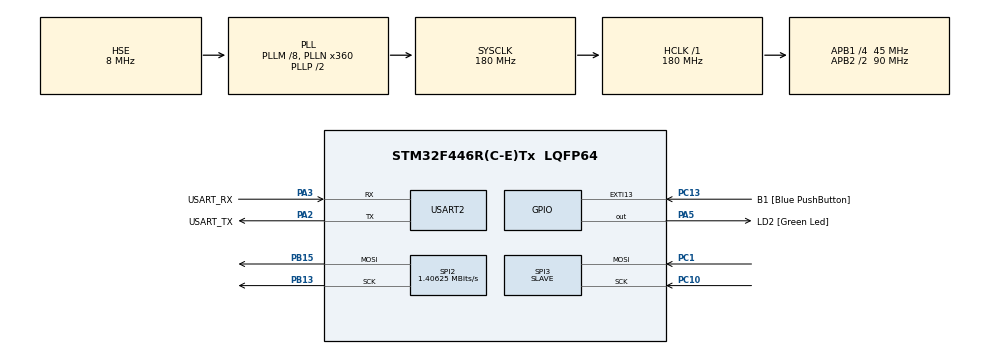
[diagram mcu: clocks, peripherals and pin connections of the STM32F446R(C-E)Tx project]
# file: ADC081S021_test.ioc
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Mcu.Family=STM32F4
Mcu.Name=STM32F446R(C-E)Tx
Mcu.Package=LQFP64
NVIC.PriorityGroup=NVIC_PRIORITYGROUP_0
PA13.GPIO_Label=TMS
PA13.Mode=Serial_Wire
PA13.Signal=SYS_JTMS-SWDIO
PA14.GPIO_Label=TCK
PA14.Mode=Serial_Wire
PA14.Signal=SYS_JTCK-SWCLK
PA2.GPIO_Label=USART_TX
PA2.Mode=Asynchronous
PA2.Signal=USART2_TX
PA3.GPIO_Label=USART_RX
PA3.Mode=Asynchronous
PA3.Signal=USART2_RX
PA5.GPIO_Label=LD2 [Green Led]
PA5.Signal=GPIO_Output
PB13.Mode=TX_Only_Simplex_Unidirect_Master
PB13.Signal=SPI2_SCK
PB15.Mode=TX_Only_Simplex_Unidirect_Master
PB15.Signal=SPI2_MOSI
PB3.GPIO_Label=SWO
PB3.Signal=SYS_JTDO-SWO
PC1.Mode=RX_Only_Simplex_Unidirect_Slave
PC1.Signal=SPI3_MOSI
PC10.Mode=RX_Only_Simplex_Unidirect_Slave
PC10.Signal=SPI3_SCK
PC13.GPIO_Label=B1 [Blue PushButton]
PC13.GPIO_ModeDefaultEXTI=GPIO_MODE_IT_FALLING
PC13.Signal=GPXTI13
PC14-OSC32_IN.Mode=LSE-External-Oscillator
PC14-OSC32_IN.Signal=RCC_OSC32_IN
PC15-OSC32_OUT.Mode=LSE-External-Oscillator
PC15-OSC32_OUT.Signal=RCC_OSC32_OUT
PH0-OSC_IN.Mode=HSE-External-Oscillator
PH0-OSC_IN.Signal=RCC_OSC_IN
PH1-OSC_OUT.Mode=HSE-External-Oscillator
PH1-OSC_OUT.Signal=RCC_OSC_OUT
ProjectManager.HeapSize=0x200
ProjectManager.StackSize=0x400
ProjectManager.TargetToolchain=STM32CubeIDE
RCC.48MHZClocksFreq_Value=84000000
RCC.AHBFreq_Value=180000000
RCC.APB1CLKDivider=RCC_HCLK_DIV4
RCC.APB1Freq_Value=45000000
RCC.APB1TimFreq_Value=90000000
RCC.APB2CLKDivider=RCC_HCLK_DIV2
RCC.APB2Freq_Value=90000000
RCC.APB2TimFreq_Value=180000000
RCC.CortexFreq_Value=180000000
RCC.FLatency-AdvancedSettings=FLASH_LATENCY_5
RCC.HCLKFreq_Value=180000000
RCC.HSE_VALUE=8000000
RCC.HSI_VALUE=16000000
RCC.PLLM=8
RCC.PLLN=360
RCC.PLLSourceVirtual=RCC_PLLSOURCE_HSE
RCC.SYSCLKFreq_VALUE=180000000
RCC.SYSCLKSource=RCC_SYSCLKSOURCE_PLLCLK
RCC.USBFreq_Value=180000000
RCC.VCOOutputFreq_Value=360000000
SPI2.BaudRatePrescaler=SPI_BAUDRATEPRESCALER_32
SPI2.CLKPhase=SPI_PHASE_1EDGE
SPI2.CLKPolarity=SPI_POLARITY_HIGH
SPI2.CalculateBaudRate=1.40625 MBits/s
SPI2.DataSize=SPI_DATASIZE_16BIT
SPI2.Direction=SPI_DIRECTION_2LINES
SPI2.Mode=SPI_MODE_MASTER
SPI2.VirtualType=VM_MASTER
SPI3.CLKPhase=SPI_PHASE_2EDGE
SPI3.CLKPolarity=SPI_POLARITY_HIGH
SPI3.DataSize=SPI_DATASIZE_16BIT
SPI3.Direction=SPI_DIRECTION_2LINES_RXONLY
SPI3.Mode=SPI_MODE_SLAVE
SPI3.VirtualType=VM_SLAVE
USART2.VirtualMode=VM_ASYNC
board=NUCLEO-F446RE

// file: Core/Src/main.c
/* USER CODE BEGIN Header */
/**
  ******************************************************************************
  * @file           : main.c
  * @brief          : Main program body
  ******************************************************************************
  * @attention
  *
  * Copyright (c) 2025 STMicroelectronics.
  * All rights reserved.
  *
  * This software is licensed under terms that can be found in the LICENSE file
  * in the root directory of this software component.
  * If no LICENSE file comes with this software, it is provided AS-IS.
  *
  ******************************************************************************
  */
/* USER CODE END Header */
#include "main.h"

/* USER CODE BEGIN Includes */
#include <math.h>
#include <stdio.h>
#include <stdlib.h>
#include <string.h>
/* USER CODE END Includes */

SPI_HandleTypeDef hspi2;
SPI_HandleTypeDef hspi3;

UART_HandleTypeDef huart2;

void SystemClock_Config(void);
static void MX_GPIO_Init(void);
static void MX_USART2_UART_Init(void);
static void MX_SPI2_Init(void);
static void MX_SPI3_Init(void);
/* USER CODE BEGIN PFP */
#define PUTCHAR_PROTOTYPE int __io_putchar(int ch)
/* USER CODE END PFP */

/* USER CODE BEGIN 0 */
PUTCHAR_PROTOTYPE
{
  /* Place your implementation of fputc here */
  /* e.g. write a character to the USART2 and Loop until the end of transmission */
  HAL_UART_Transmit(&huart2, (uint8_t *)&ch, 1, 0xFFFF);
  return ch;
}
/* USER CODE END 0 */

int main(void)
{

  /* MCU Configuration--------------------------------------------------------*/

  /* Reset of all peripherals, Initializes the Flash interface and the Systick. */
  HAL_Init();

  /* Configure the system clock */
  SystemClock_Config();

  /* Initialize all configured peripherals */
  MX_GPIO_Init();
  MX_USART2_UART_Init();
  MX_SPI2_Init();
  MX_SPI3_Init();

  /* Infinite loop */
  /* USER CODE BEGIN WHILE */
  uint16_t read_data;
  uint16_t write_data = 0x8000; // Acting like Chip select
  while (1)
  {
    /* USER CODE END WHILE */

    /* USER CODE BEGIN 3 */
	HAL_GPIO_TogglePin(GPIOA, GPIO_PIN_5);

	HAL_SPI_Transmit(&hspi2, &write_data,  1, 1);
	HAL_SPI_Receive(&hspi3, &read_data, 1, 1);
	printf("ADC Value = %d \r\n", read_data);
	HAL_Delay(1000);

  }
  /* USER CODE END 3 */
}

void SystemClock_Config(void)
{
  RCC_OscInitTypeDef RCC_OscInitStruct = {0};
  RCC_ClkInitTypeDef RCC_ClkInitStruct = {0};

  /** Configure the main internal regulator output voltage
  */
  __HAL_RCC_PWR_CLK_ENABLE();
  __HAL_PWR_VOLTAGESCALING_CONFIG(PWR_REGULATOR_VOLTAGE_SCALE1);

  /** Initializes the RCC Oscillators according to the specified parameters
  * in the RCC_OscInitTypeDef structure.
  */
  RCC_OscInitStruct.OscillatorType = RCC_OSCILLATORTYPE_HSE;
  RCC_OscInitStruct.HSEState = RCC_HSE_ON;
  RCC_OscInitStruct.PLL.PLLState = RCC_PLL_ON;
  RCC_OscInitStruct.PLL.PLLSource = RCC_PLLSOURCE_HSE;
  RCC_OscInitStruct.PLL.PLLM = 8;
  RCC_OscInitStruct.PLL.PLLN = 360;
  RCC_OscInitStruct.PLL.PLLP = RCC_PLLP_DIV2;
  RCC_OscInitStruct.PLL.PLLQ = 2;
  RCC_OscInitStruct.PLL.PLLR = 2;
  if (HAL_RCC_OscConfig(&RCC_OscInitStruct) != HAL_OK)
  {
    Error_Handler();
  }

  /** Activate the Over-Drive mode
  */
  if (HAL_PWREx_EnableOverDrive() != HAL_OK)
  {
    Error_Handler();
  }

  /** Initializes the CPU, AHB and APB buses clocks
  */
  RCC_ClkInitStruct.ClockType = RCC_CLOCKTYPE_HCLK|RCC_CLOCKTYPE_SYSCLK
                              |RCC_CLOCKTYPE_PCLK1|RCC_CLOCKTYPE_PCLK2;
  RCC_ClkInitStruct.SYSCLKSource = RCC_SYSCLKSOURCE_PLLCLK;
  RCC_ClkInitStruct.AHBCLKDivider = RCC_SYSCLK_DIV1;
  RCC_ClkInitStruct.APB1CLKDivider = RCC_HCLK_DIV4;
  RCC_ClkInitStruct.APB2CLKDivider = RCC_HCLK_DIV2;

  if (HAL_RCC_ClockConfig(&RCC_ClkInitStruct, FLASH_LATENCY_5) != HAL_OK)
  {
    Error_Handler();
  }
}

static void MX_SPI2_Init(void)
{

  /* SPI2 parameter configuration*/
  hspi2.Instance = SPI2;
  hspi2.Init.Mode = SPI_MODE_MASTER;
  hspi2.Init.Direction = SPI_DIRECTION_2LINES;
  hspi2.Init.DataSize = SPI_DATASIZE_16BIT;
  hspi2.Init.CLKPolarity = SPI_POLARITY_HIGH;
  hspi2.Init.CLKPhase = SPI_PHASE_1EDGE;
  hspi2.Init.NSS = SPI_NSS_SOFT;
  hspi2.Init.BaudRatePrescaler = SPI_BAUDRATEPRESCALER_32;
  hspi2.Init.FirstBit = SPI_FIRSTBIT_MSB;
  hspi2.Init.TIMode = SPI_TIMODE_DISABLE;
  hspi2.Init.CRCCalculation = SPI_CRCCALCULATION_DISABLE;
  hspi2.Init.CRCPolynomial = 10;
  if (HAL_SPI_Init(&hspi2) != HAL_OK)
  {
    Error_Handler();
  }

}

static void MX_SPI3_Init(void)
{

  /* SPI3 parameter configuration*/
  hspi3.Instance = SPI3;
  hspi3.Init.Mode = SPI_MODE_SLAVE;
  hspi3.Init.Direction = SPI_DIRECTION_2LINES_RXONLY;
  hspi3.Init.DataSize = SPI_DATASIZE_16BIT;
  hspi3.Init.CLKPolarity = SPI_POLARITY_HIGH;
  hspi3.Init.CLKPhase = SPI_PHASE_2EDGE;
  hspi3.Init.NSS = SPI_NSS_SOFT;
  hspi3.Init.FirstBit = SPI_FIRSTBIT_MSB;
  hspi3.Init.TIMode = SPI_TIMODE_DISABLE;
  hspi3.Init.CRCCalculation = SPI_CRCCALCULATION_DISABLE;
  hspi3.Init.CRCPolynomial = 10;
  if (HAL_SPI_Init(&hspi3) != HAL_OK)
  {
    Error_Handler();
  }

}

static void MX_USART2_UART_Init(void)
{

  huart2.Instance = USART2;
  huart2.Init.BaudRate = 115200;
  huart2.Init.WordLength = UART_WORDLENGTH_8B;
  huart2.Init.StopBits = UART_STOPBITS_1;
  huart2.Init.Parity = UART_PARITY_NONE;
  huart2.Init.Mode = UART_MODE_TX_RX;
  huart2.Init.HwFlowCtl = UART_HWCONTROL_NONE;
  huart2.Init.OverSampling = UART_OVERSAMPLING_16;
  if (HAL_UART_Init(&huart2) != HAL_OK)
  {
    Error_Handler();
  }

}

static void MX_GPIO_Init(void)
{
  GPIO_InitTypeDef GPIO_InitStruct = {0};

  /* GPIO Ports Clock Enable */
  __HAL_RCC_GPIOC_CLK_ENABLE();
  __HAL_RCC_GPIOH_CLK_ENABLE();
  __HAL_RCC_GPIOA_CLK_ENABLE();
  __HAL_RCC_GPIOB_CLK_ENABLE();

  /*Configure GPIO pin Output Level */
  HAL_GPIO_WritePin(LD2_GPIO_Port, LD2_Pin, GPIO_PIN_RESET);

  /*Configure GPIO pin : B1_Pin */
  GPIO_InitStruct.Pin = B1_Pin;
  GPIO_InitStruct.Mode = GPIO_MODE_IT_FALLING;
  GPIO_InitStruct.Pull = GPIO_NOPULL;
  HAL_GPIO_Init(B1_GPIO_Port, &GPIO_InitStruct);

  /*Configure GPIO pin : LD2_Pin */
  GPIO_InitStruct.Pin = LD2_Pin;
  GPIO_InitStruct.Mode = GPIO_MODE_OUTPUT_PP;
  GPIO_InitStruct.Pull = GPIO_NOPULL;
  GPIO_InitStruct.Speed = GPIO_SPEED_FREQ_LOW;
  HAL_GPIO_Init(LD2_GPIO_Port, &GPIO_InitStruct);

}

void Error_Handler(void)
{
  __disable_irq();
  while (1)
  {
  }
}
